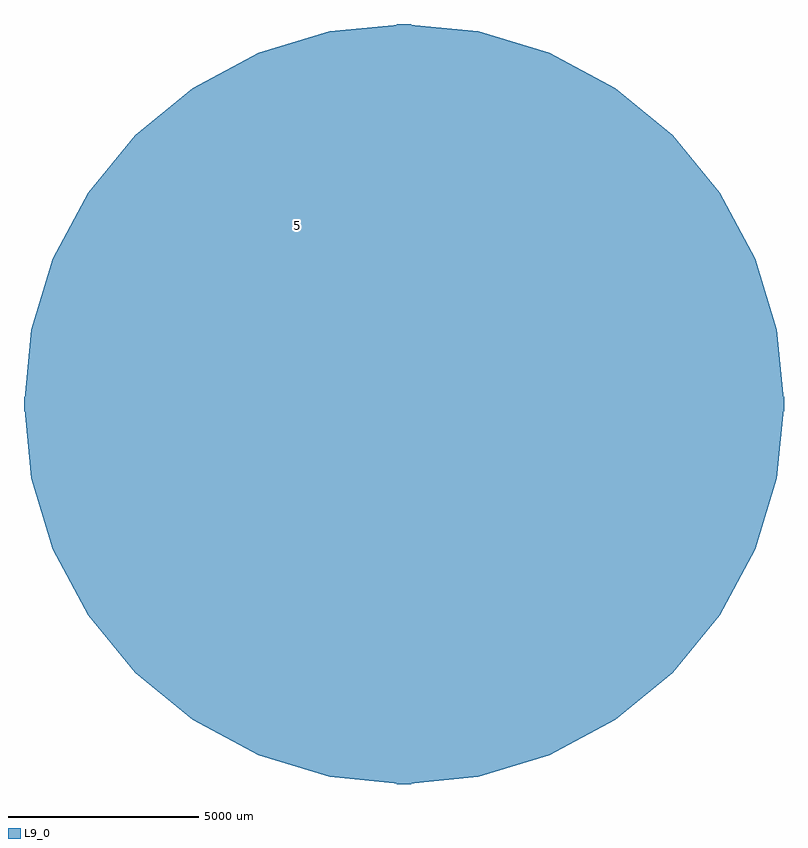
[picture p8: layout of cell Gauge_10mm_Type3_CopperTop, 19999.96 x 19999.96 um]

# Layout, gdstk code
import gdstk
lib = gdstk.Library(unit=1e-6, precision=1e-09)
def P(c, l, *ps):  # polygons
    for p in ps: c.add(gdstk.Polygon(p, *l))
L9_0 = (9, 0)

gauge_10mm_type3_coppert = lib.new_cell('Gauge_10mm_Type3_CopperTop')
P(gauge_10mm_type3_coppert, L9_0, [(9999.98,0),(9807.833,1950.899),(9238.777,3826.827),(8314.679,5555.691),(7071.054,7071.054),(5555.691,8314.679),(3826.827,9238.777),(1950.899,9807.833),(0,9999.98),(-1950.899,9807.833),(-3826.827,9238.777),(-5555.691,8314.679),(-7071.054,7071.054),(-8314.679,5555.691),(-9238.777,3826.827),(-9807.833,1950.899),(-9999.98,0),(-9807.833,-1950.899),(-9238.777,-3826.827),(-8314.679,-5555.691),(-7071.054,-7071.054),(-5555.691,-8314.679),(-3826.827,-9238.777),(-1950.899,-9807.833),(0,-9999.98),(1950.899,-9807.833),(3826.827,-9238.777),(5555.691,-8314.679),(7071.054,-7071.054),(8314.679,-5555.691),(9238.777,-3826.827),(9807.833,-1950.899)],
  [(5001.26,0),(4905.162,975.697),(4620.562,1913.899),(4158.396,2778.551),(3536.425,3536.425),(2778.551,4158.396),(1913.899,4620.562),(975.697,4905.162),(0,5001.26),(-975.697,4905.162),(-1913.899,4620.562),(-2778.551,4158.396),(-3536.425,3536.425),(-4158.396,2778.551),(-4620.562,1913.899),(-4905.162,975.697),(-5001.26,0),(-4905.162,-975.697),(-4620.562,-1913.899),(-4158.396,-2778.551),(-3536.425,-3536.425),(-2778.551,-4158.396),(-1913.899,-4620.562),(-975.697,-4905.162),(0,-5001.26),(975.697,-4905.162),(1913.899,-4620.562),(2778.551,-4158.396),(3536.425,-3536.425),(4158.396,-2778.551),(4620.562,-1913.899),(4905.162,-975.697)],
  [(8999.22,0),(8826.303,1755.661),(8314.195,3443.852),(7482.578,4999.699),(6363.409,6363.409),(4999.699,7482.578),(3443.852,8314.195),(1755.661,8826.303),(0,8999.22),(-1755.661,8826.303),(-3443.852,8314.195),(-4999.699,7482.578),(-6363.409,6363.409),(-7482.578,4999.699),(-8314.195,3443.852),(-8826.303,1755.661),(-8999.22,0),(-8826.303,-1755.661),(-8314.195,-3443.852),(-7482.578,-4999.699),(-6363.409,-6363.409),(-4999.699,-7482.578),(-3443.852,-8314.195),(-1755.661,-8826.303),(0,-8999.22),(1755.661,-8826.303),(3443.852,-8314.195),(4999.699,-7482.578),(6363.409,-6363.409),(7482.578,-4999.699),(8314.195,-3443.852),(8826.303,-1755.661)],
  [(8001,0),(7847.263,1560.918),(7391.96,3061.85),(6652.588,4445.117),(5657.561,5657.561),(4445.117,6652.588),(3061.85,7391.96),(1560.918,7847.263),(0,8001),(-1560.918,7847.263),(-3061.85,7391.96),(-4445.117,6652.588),(-5657.561,5657.561),(-6652.588,4445.117),(-7391.96,3061.85),(-7847.263,1560.918),(-8001,0),(-7847.263,-1560.918),(-7391.96,-3061.85),(-6652.588,-4445.117),(-5657.561,-5657.561),(-4445.117,-6652.588),(-3061.85,-7391.96),(-1560.918,-7847.263),(0,-8001),(1560.918,-7847.263),(3061.85,-7391.96),(4445.117,-6652.588),(5657.561,-5657.561),(6652.588,-4445.117),(7391.96,-3061.85),(7847.263,-1560.918)],
  [(7000.24,0),(6865.732,1365.679),(6467.378,2678.876),(5820.487,3889.125),(4949.917,4949.917),(3889.125,5820.487),(2678.876,6467.378),(1365.679,6865.732),(0,7000.24),(-1365.679,6865.732),(-2678.876,6467.378),(-3889.125,5820.487),(-4949.917,4949.917),(-5820.487,3889.125),(-6467.378,2678.876),(-6865.732,1365.679),(-7000.24,0),(-6865.732,-1365.679),(-6467.378,-2678.876),(-5820.487,-3889.125),(-4949.917,-4949.917),(-3889.125,-5820.487),(-2678.876,-6467.378),(-1365.679,-6865.732),(0,-7000.24),(1365.679,-6865.732),(2678.876,-6467.378),(3889.125,-5820.487),(4949.917,-4949.917),(5820.487,-3889.125),(6467.378,-2678.876),(6865.732,-1365.679)],
  [(5999.48,0),(5884.202,1170.44),(5542.797,2295.902),(4988.385,3333.133),(4242.273,4242.273),(3333.133,4988.385),(2295.902,5542.797),(1170.44,5884.202),(0,5999.48),(-1170.44,5884.202),(-2295.902,5542.797),(-3333.133,4988.385),(-4242.273,4242.273),(-4988.385,3333.133),(-5542.797,2295.902),(-5884.202,1170.44),(-5999.48,0),(-5884.202,-1170.44),(-5542.797,-2295.902),(-4988.385,-3333.133),(-4242.273,-4242.273),(-3333.133,-4988.385),(-2295.902,-5542.797),(-1170.44,-5884.202),(0,-5999.48),(1170.44,-5884.202),(2295.902,-5542.797),(3333.133,-4988.385),(4242.273,-4242.273),(4988.385,-3333.133),(5542.797,-2295.902),(5884.202,-1170.44)],
  [(4000.5,0),(3923.632,780.459),(3695.98,1530.925),(3326.294,2222.559),(2828.781,2828.781),(2222.559,3326.294),(1530.925,3695.98),(780.459,3923.632),(0,4000.5),(-780.459,3923.632),(-1530.925,3695.98),(-2222.559,3326.294),(-2828.781,2828.781),(-3326.294,2222.559),(-3695.98,1530.925),(-3923.632,780.459),(-4000.5,0),(-3923.632,-780.459),(-3695.98,-1530.925),(-3326.294,-2222.559),(-2828.781,-2828.781),(-2222.559,-3326.294),(-1530.925,-3695.98),(-780.459,-3923.632),(0,-4000.5),(780.459,-3923.632),(1530.925,-3695.98),(2222.559,-3326.294),(2828.781,-2828.781),(3326.294,-2222.559),(3695.98,-1530.925),(3923.632,-780.459)],
  [(2999.74,0),(2942.101,585.22),(2771.398,1147.951),(2494.193,1666.566),(2121.136,2121.136),(1666.566,2494.193),(1147.951,2771.398),(585.22,2942.101),(0,2999.74),(-585.22,2942.101),(-1147.951,2771.398),(-1666.566,2494.193),(-2121.136,2121.136),(-2494.193,1666.566),(-2771.398,1147.951),(-2942.101,585.22),(-2999.74,0),(-2942.101,-585.22),(-2771.398,-1147.951),(-2494.193,-1666.566),(-2121.136,-2121.136),(-1666.566,-2494.193),(-1147.951,-2771.398),(-585.22,-2942.101),(0,-2999.74),(585.22,-2942.101),(1147.951,-2771.398),(1666.566,-2494.193),(2121.136,-2121.136),(2494.193,-1666.566),(2771.398,-1147.951),(2942.101,-585.22)],
  [(1998.98,0),(1960.57,389.982),(1846.817,764.977),(1662.091,1110.574),(1413.492,1413.492),(1110.574,1662.091),(764.977,1846.817),(389.982,1960.57),(0,1998.98),(-389.982,1960.57),(-764.977,1846.817),(-1110.574,1662.091),(-1413.492,1413.492),(-1662.091,1110.574),(-1846.817,764.977),(-1960.57,389.982),(-1998.98,0),(-1960.57,-389.982),(-1846.817,-764.977),(-1662.091,-1110.574),(-1413.492,-1413.492),(-1110.574,-1662.091),(-764.977,-1846.817),(-389.982,-1960.57),(0,-1998.98),(389.982,-1960.57),(764.977,-1846.817),(1110.574,-1662.091),(1413.492,-1413.492),(1662.091,-1110.574),(1846.817,-764.977),(1960.57,-389.982)],
  [(1000.76,0),(981.531,195.239),(924.582,382.974),(832.102,555.992),(707.644,707.644),(555.992,832.102),(382.974,924.582),(195.239,981.531),(0,1000.76),(-195.239,981.531),(-382.974,924.582),(-555.992,832.102),(-707.644,707.644),(-832.102,555.992),(-924.582,382.974),(-981.531,195.239),(-1000.76,0),(-981.531,-195.239),(-924.582,-382.974),(-832.102,-555.992),(-707.644,-707.644),(-555.992,-832.102),(-382.974,-924.582),(-195.239,-981.531),(0,-1000.76),(195.239,-981.531),(382.974,-924.582),(555.992,-832.102),(707.644,-707.644),(832.102,-555.992),(924.582,-382.974),(981.531,-195.239)])
gauge_10mm_type3_coppert.add(gdstk.FlexPath([(0,0),(9999.98,0)], 380.998, ends="flush", simple_path=True, layer=9, datatype=0))  # L9_0
gauge_10mm_type3_coppert.add(gdstk.FlexPath([(0,0),(0,-1998.98)], 380.998, ends="flush", simple_path=True, layer=9, datatype=0))  # L9_0
gauge_10mm_type3_coppert.add(gdstk.FlexPath([(0,0),(0,9999.98)], 380.998, ends="flush", simple_path=True, layer=9, datatype=0))  # L9_0
gauge_10mm_type3_coppert.add(gdstk.FlexPath([(0,0),(-1998.98,0)], 380.998, ends="flush", simple_path=True, layer=9, datatype=0))  # L9_0
gauge_10mm_type3_coppert.add(gdstk.FlexPath([(-1998.98,0),(-9999.98,0)], 380.998, ends="flush", simple_path=True, layer=9, datatype=0))  # L9_0
gauge_10mm_type3_coppert.add(gdstk.FlexPath([(0,-1998.98),(0,-9999.98)], 380.998, ends="flush", simple_path=True, layer=9, datatype=0))  # L9_0
gauge_10mm_type3_coppert.add(gdstk.FlexPath([(-5001.26,5001.26),(-5001.26,0)], 380.998, ends="flush", simple_path=True, layer=9, datatype=0))  # L9_0
gauge_10mm_type3_coppert.add(gdstk.FlexPath([(0,5001.26),(-5001.26,5001.26)], 380.998, ends="flush", simple_path=True, layer=9, datatype=0))  # L9_0
gauge_10mm_type3_coppert.add(gdstk.FlexPath([(5001.26,5001.26),(5001.26,0)], 380.998, ends="flush", simple_path=True, layer=9, datatype=0))  # L9_0
gauge_10mm_type3_coppert.add(gdstk.FlexPath([(0,5001.26),(5001.26,5001.26)], 380.998, ends="flush", simple_path=True, layer=9, datatype=0))  # L9_0
gauge_10mm_type3_coppert.add(gdstk.FlexPath([(-5001.26,-5001.26),(-5001.26,0)], 380.998, ends="flush", simple_path=True, layer=9, datatype=0))  # L9_0
gauge_10mm_type3_coppert.add(gdstk.FlexPath([(0,-5001.26),(-5001.26,-5001.26)], 380.998, ends="flush", simple_path=True, layer=9, datatype=0))  # L9_0
gauge_10mm_type3_coppert.add(gdstk.FlexPath([(5001.26,-5001.26),(0,-5001.26)], 380.998, ends="flush", simple_path=True, layer=9, datatype=0))  # L9_0
gauge_10mm_type3_coppert.add(gdstk.FlexPath([(5001.26,0),(5001.26,-5001.26)], 380.998, ends="flush", simple_path=True, layer=9, datatype=0))  # L9_0
gauge_10mm_type3_coppert.add(gdstk.Label('10mm', (11600.18,99.06), layer=9, texttype=0))
gauge_10mm_type3_coppert.add(gdstk.Label('5', (-2799.08,4699), layer=9, texttype=0))
gauge_10mm_type3_coppert.add(gdstk.Label('10mm', (99.06,11198.86), layer=9, texttype=0))
gauge_10mm_type3_coppert.add(gdstk.Label('type', (-1270,-12700), layer=9, texttype=0))
gauge_10mm_type3_coppert.add(gdstk.Label('devicename', (-13970,8890), layer=9, texttype=0))

lib.write_gds('Gauge_10mm_Type3_CopperTop.gds')
